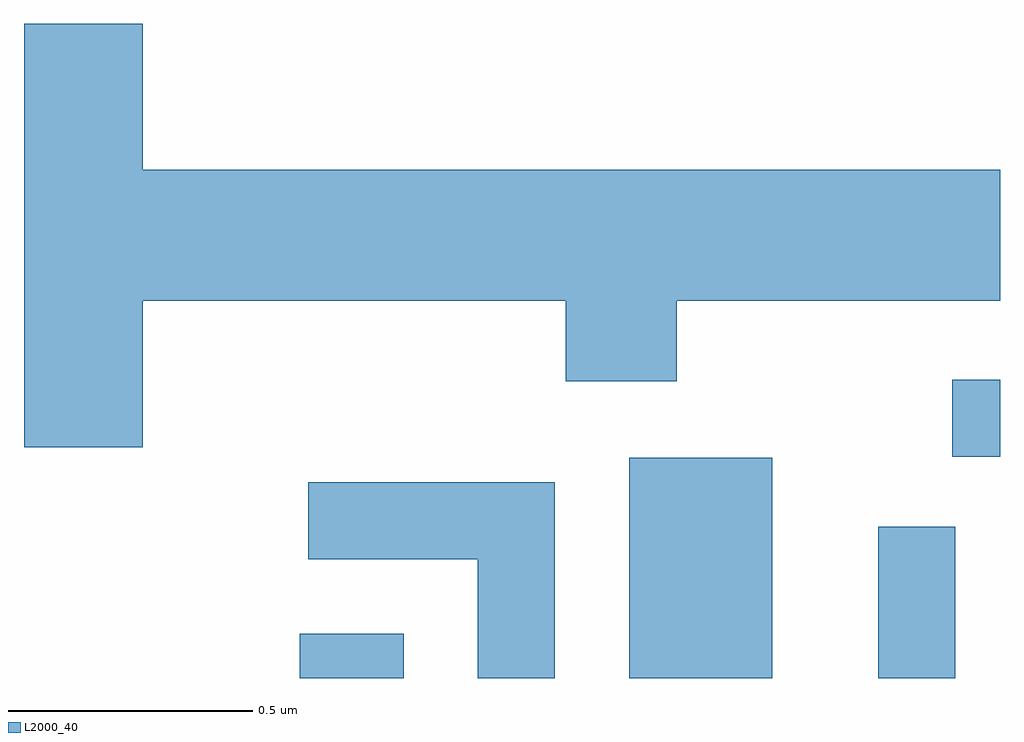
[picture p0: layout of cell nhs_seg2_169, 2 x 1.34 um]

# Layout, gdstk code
import gdstk
lib = gdstk.Library(unit=1e-6, precision=1e-09)
def R(c, l, rs):  # rectangles x0, y0, x1, y1
    for r in rs: c.add(gdstk.rectangle(r[:2], r[2:], *l))
def P(c, l, *ps):  # polygons
    for p in ps: c.add(gdstk.Polygon(p, *l))
L2000_40 = (2000, 40)

nhs_seg2_169 = lib.new_cell('nhs_seg2_169')
R(nhs_seg2_169, L2000_40, [(187.176,1009.802,187.389,1009.894), (187.851,1009.802,188.144,1010.254), (188.361,1009.802,188.519,1010.113), (188.513,1010.256,188.611,1010.414)])
P(nhs_seg2_169, L2000_40, [(186.854,1010.576),(187.721,1010.576),(187.721,1010.411),(187.949,1010.411),(187.949,1010.576),(188.611,1010.576),(188.611,1010.844),(186.854,1010.844),(186.854,1011.144),(186.611,1011.144),(186.611,1010.276),(186.854,1010.276)],
  [(187.699,1010.204),(187.193,1010.204),(187.193,1010.046),(187.541,1010.046),(187.541,1009.802),(187.699,1009.802)])

lib.write_gds('nhs_seg2_169.gds')
